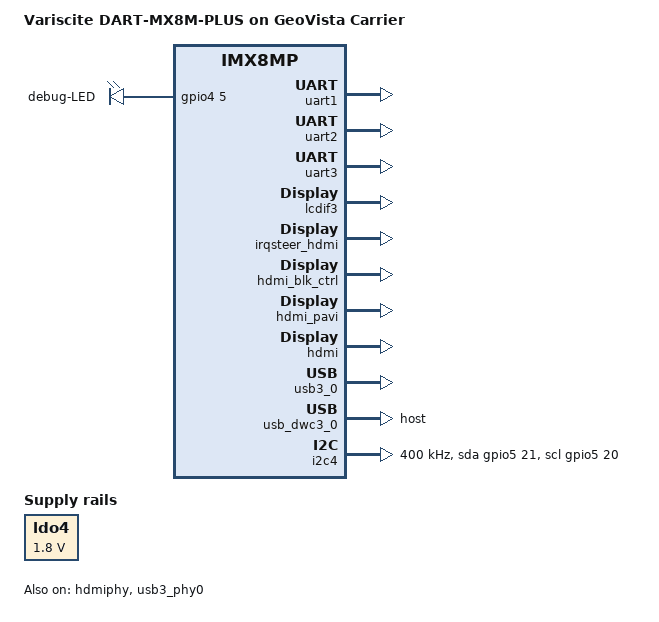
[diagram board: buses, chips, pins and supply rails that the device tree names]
// SPDX-License-Identifier: (GPL-2.0+ OR MIT)
/*
 * Copyright 2019 NXP
 * Copyright 2020-2021 Variscite Ltd.
 */

#include "imx8mp-var-dart.dtsi"

/ {
	model = "Variscite DART-MX8M-PLUS on GeoVista Carrier";

	chosen {
		stdout-path = &uart1;
	};

	gpio-leds {
		compatible = "gpio-leds";
		pinctrl-names = "default";
		pinctrl-0 = <&pinctrl_gpio_leds>;
		status = "okay";

		debug-LED {
			label = "debug-LED";
			gpios = <&gpio4 5 GPIO_ACTIVE_HIGH>;
			default-state = "on";
		};
	};
};

&flexspi {
	pinctrl-names = "default";
	pinctrl-0 = <&pinctrl_flexspi0>;
	status = "disabled";
};

/* Console */
&uart1 {
	pinctrl-names = "default";
	pinctrl-0 = <&pinctrl_uart1>;
	status = "okay";
};

/* Motor Control Brd Comms */
&uart2 {
	pinctrl-names = "default";
	pinctrl-0 = <&pinctrl_uart2>;
	status = "okay";
};

/* RS485 Video Output Comms */
&uart3 {
	pinctrl-names = "default";
	pinctrl-0 = <&pinctrl_uart3>;
	status = "okay";
};

/* HDMI */
&lcdif3 {
	status = "okay";
	thres-low  = <1 2>;             /* (FIFO * 1 / 2) */
	thres-high = <3 4>;             /* (FIFO * 3 / 4) */
};

&irqsteer_hdmi {
	status = "okay";
};

&hdmi_blk_ctrl {
	status = "okay";
};

&hdmi_pavi {
	status = "okay";
};

&hdmi {
	status = "okay";
};

&hdmiphy {
	status = "okay";
};

/* USB */
&usb3_phy0 {
	fsl,phy-tx-vref-tune = <0xe>;
	fsl,phy-tx-preemp-amp-tune = <3>;
	fsl,phy-tx-vboost-level = <5>;
	fsl,phy-comp-dis-tune = <7>;
	fsl,pcs-tx-deemph-3p5db = <0x21>;
	fsl,phy-pcs-tx-swing-full = <0x7f>;
	status = "okay";
};

&usb3_0 {
	status = "okay";
};

&usb_dwc3_0 {
	dr_mode = "host";
	hnp-disable;
	srp-disable;
	adp-disable;
	usb-role-switch;
	role-switch-default-mode = "host";
	snps,dis-u1-entry-quirk;
	snps,dis-u2-entry-quirk;
	status = "okay";

};

&ldo4 {
	regulator-min-microvolt = <1800000>;
	regulator-max-microvolt = <1800000>;
};

&i2c4 {
	clock-frequency = <400000>;
	pinctrl-names = "default", "gpio";
	pinctrl-0 = <&pinctrl_i2c4>;
	pinctrl-1 = <&pinctrl_i2c4_gpio>;
	scl-gpios = <&gpio5 20 GPIO_ACTIVE_HIGH>;
	sda-gpios = <&gpio5 21 GPIO_ACTIVE_HIGH>;
	status = "okay";
};

&iomuxc {
	/* HDMI */
	pinctrl-names = "default";
	pinctrl-0 = <&pinctrl_hog>;

	pinctrl_hog: hoggrp {
		fsl,pins = <
			MX8MP_IOMUXC_HDMI_DDC_SCL__HDMIMIX_HDMI_SCL			0x400001c2
			MX8MP_IOMUXC_HDMI_DDC_SDA__HDMIMIX_HDMI_SDA			0x400001c2
			MX8MP_IOMUXC_HDMI_HPD__HDMIMIX_HDMI_HPD			0x40000010
			MX8MP_IOMUXC_HDMI_CEC__HDMIMIX_HDMI_CEC			0x40000010
		>;
	};

	pinctrl_i2c2: i2c2grp {
		fsl,pins = <
			MX8MP_IOMUXC_I2C2_SCL__I2C2_SCL					0x400001c2
			MX8MP_IOMUXC_I2C2_SDA__I2C2_SDA					0x400001c2
		>;
	};

	pinctrl_i2c4: i2c4grp {
		fsl,pins = <
			MX8MP_IOMUXC_I2C4_SCL__I2C4_SCL					0x400001c2
			MX8MP_IOMUXC_I2C4_SDA__I2C4_SDA					0x400001c2
		>;
	};

	/* Console UART */
	pinctrl_uart1: uart1grp {
		fsl,pins = <
			MX8MP_IOMUXC_UART1_RXD__UART1_DCE_RX				0x40
			MX8MP_IOMUXC_UART1_TXD__UART1_DCE_TX				0x40
		>;
	};

	/* Motor Control Brd Comms */
	pinctrl_uart2: uart2grp {
		fsl,pins = <
			MX8MP_IOMUXC_UART2_RXD__UART2_DCE_RX				0x40
			MX8MP_IOMUXC_UART2_TXD__UART2_DCE_TX				0x40
		>;
	};

	/* RS485 Video Output Comms */
	pinctrl_uart3: uart3grp {
		fsl,pins = <
			MX8MP_IOMUXC_UART3_RXD__UART3_DCE_RX				0x40
			MX8MP_IOMUXC_UART3_TXD__UART3_DCE_TX				0x40
		>;
	};

	pinctrl_uart4: uart4grp {
		fsl,pins = <
			MX8MP_IOMUXC_ECSPI2_SCLK__UART4_DCE_RX				0x140
			MX8MP_IOMUXC_ECSPI2_MOSI__UART4_DCE_TX				0x140
			MX8MP_IOMUXC_ECSPI2_MISO__UART4_DCE_CTS				0x140
			MX8MP_IOMUXC_ECSPI2_SS0__UART4_DCE_RTS				0x140
		>;
	};

	/* Debug LED */
	pinctrl_gpio_leds: ledgrp {
		fsl,pins = <
			MX8MP_IOMUXC_SAI1_RXD3__GPIO4_IO05				0xc6
		>;
	};

	pinctrl_flexspi0: flexspi0grp {
		fsl,pins = <
			MX8MP_IOMUXC_NAND_ALE__FLEXSPI_A_SCLK				0x1c2
			MX8MP_IOMUXC_NAND_CE0_B__FLEXSPI_A_SS0_B			0x82
			MX8MP_IOMUXC_NAND_DATA00__FLEXSPI_A_DATA00			0x82
			MX8MP_IOMUXC_NAND_DATA01__FLEXSPI_A_DATA01			0x82
			MX8MP_IOMUXC_NAND_DATA02__FLEXSPI_A_DATA02			0x82
			MX8MP_IOMUXC_NAND_DATA03__FLEXSPI_A_DATA03			0x82
		>;
	};

	pinctrl_i2c4_gpio: i2c4gpiogrp {
		fsl,pins = <
			MX8MP_IOMUXC_I2C4_SCL__GPIO5_IO20				0x1c2
			MX8MP_IOMUXC_I2C4_SDA__GPIO5_IO21				0x1c2
		>;
	};
};
